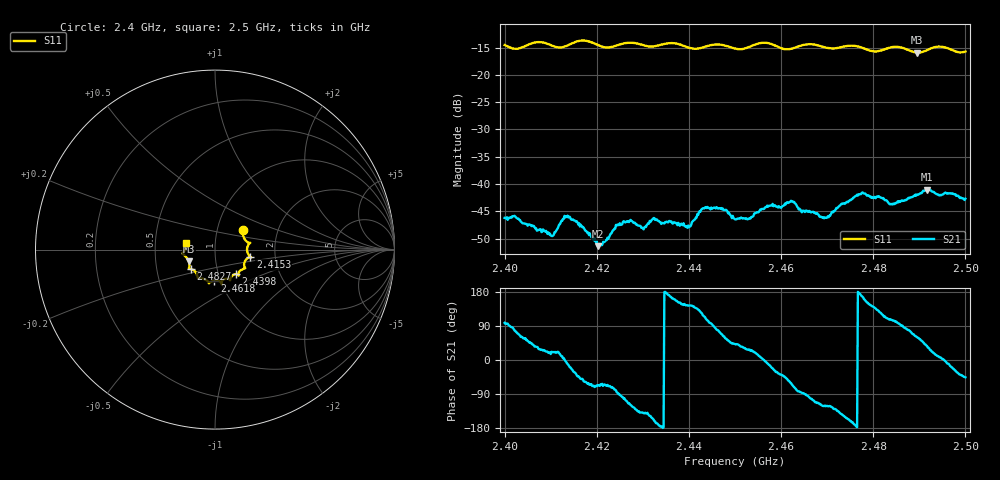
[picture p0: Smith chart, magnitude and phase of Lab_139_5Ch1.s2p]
# Hz S RI R 50
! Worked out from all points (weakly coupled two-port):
!   601 points, 2.4 GHz to 2.5 GHz, reference 50 ohm
!   highest |S21| = -41.06 dB at 2.4917 GHz (marker M1); lowest = -51.4 dB at 2.4203 GHz (marker M2)
!   lowest |S11| = -15.9 dB at 2.4895 GHz (marker M3), VSWR 1.38, Z = 37 - j5.02 ohm
!   |S11| at or under -10 dB: start of sweep to end of sweep
!   S12 and S22 are empty: the file has one direction only
!   S11 on the Smith chart (normalised r, x): 2.4 GHz: 1.33, +0.30; 2.4153 GHz: 1.48, -0.12; 2.4398 GHz: 1.21, -0.34; 2.4618 GHz: 0.94, -0.33; 2.4827 GHz: 0.75, -0.17; 2.5 GHz: 0.72, +0.06
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2.4e9  0.1555 0.1069  -0.000683 0.00484  0 0  0 0
2.410167e9  0.1852 0.0247  0.00311 0.00124  0 0  0 0
2.413167e9  0.182 -0.0174  0.00493 -0.000204  0 0  0 0
2.415333e9  0.1966 -0.0396  0.0038 -0.00257  0 0  0 0
2.416667e9  0.2023 -0.0438  0.00264 -0.00319  0 0  0 0
2.420333e9  0.1811 -0.048  0.00105 -0.00248  0 0  0 0
2.426167e9  0.1674 -0.1017  -0.00115 -0.00429  0 0  0 0
2.430167e9  0.1512 -0.1107  -0.00296 -0.00245  0 0  0 0
2.433333e9  0.1302 -0.1337  -0.00453 -0.000783  0 0  0 0
2.439833e9  0.1156 -0.136  -0.00334 0.00248  0 0  0 0
2.4435e9  0.0865 -0.1594  -0.00238 0.00561  0 0  0 0
2.45e9  0.0651 -0.1622  0.00351 0.00317  0 0  0 0
2.456333e9  0.0386 -0.1938  0.00592 -3.89e-05  0 0  0 0
2.461833e9  -0.00297 -0.1725  0.00372 -0.00572  0 0  0 0
2.466667e9  -0.0343 -0.1882  -0.00122 -0.0054  0 0  0 0
2.469833e9  -0.0464 -0.1715  -0.00253 -0.00419  0 0  0 0
2.477333e9  -0.0977 -0.1504  -0.00796 0.00129  0 0  0 0
2.482667e9  -0.1348 -0.1085  -0.0027 0.00658  0 0  0 0
2.483333e9  -0.14 -0.1082  -0.00208 0.00635  0 0  0 0
2.4895e9  -0.1458 -0.0662  0.00398 0.00694  0 0  0 0
2.491667e9  -0.1646 -0.0375  0.00707 0.00533  0 0  0 0
2.5e9  -0.1593 0.0387  0.00511 -0.00525  0 0  0 0
